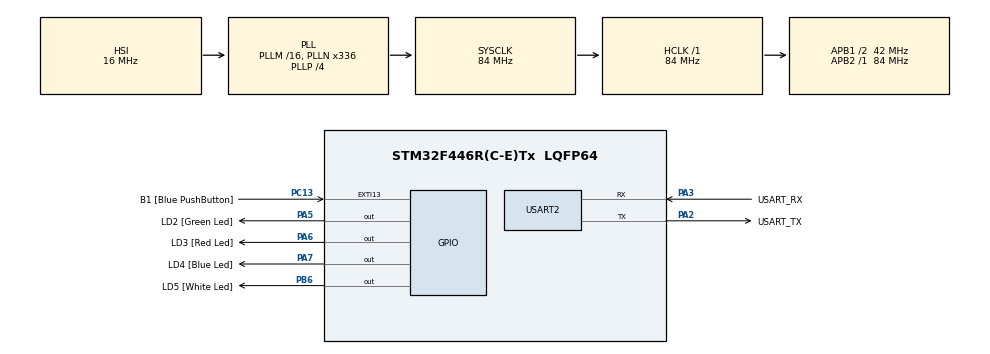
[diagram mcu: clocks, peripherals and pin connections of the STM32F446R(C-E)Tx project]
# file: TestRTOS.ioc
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FREERTOS.Queues01=sendQueue,16,SENDMSGQUEUE_OBJ_t,0,Static,sendQueueBuffer,sendQueueControlBlock;recvQueue,16,RECVMSGQUEUE_OBJ_t,0,Static,recvQueueBuffer,recvQueueControlBlock
FREERTOS.Tasks01=flashTask,24,256,startFlashTask,Default,NULL,Dynamic,NULL,NULL;uartTask,8,512,startUartTask,Default,NULL,Dynamic,NULL,NULL;recvTask,48,256,startRecvTask,Default,NULL,Dynamic,NULL,NULL
Mcu.Family=STM32F4
Mcu.Name=STM32F446R(C-E)Tx
Mcu.Package=LQFP64
NVIC.PriorityGroup=NVIC_PRIORITYGROUP_4
NVIC.RCC_IRQn=true\:5\:0\:false\:false\:true\:true\:true\:false
NVIC.RTC_Alarm_IRQn=true\:5\:0\:false\:false\:true\:true\:true\:true
NVIC.TIM1_UP_TIM10_IRQn=true\:0\:0\:false\:false\:true\:false\:false\:true
NVIC.TimeBase=TIM1_UP_TIM10_IRQn
NVIC.TimeBaseIP=TIM1
NVIC.USART2_IRQn=true\:5\:0\:false\:false\:true\:true\:true\:true
PA13.GPIO_Label=TMS
PA13.Mode=Serial_Wire
PA13.Signal=SYS_JTMS-SWDIO
PA14.GPIO_Label=TCK
PA14.Mode=Serial_Wire
PA14.Signal=SYS_JTCK-SWCLK
PA2.GPIO_Label=USART_TX
PA2.Mode=Asynchronous
PA2.Signal=USART2_TX
PA3.GPIO_Label=USART_RX
PA3.Mode=Asynchronous
PA3.Signal=USART2_RX
PA5.GPIO_Label=LD2 [Green Led]
PA5.Signal=GPIO_Output
PA6.GPIO_Label=LD3 [Red Led]
PA6.Signal=GPIO_Output
PA7.GPIO_Label=LD4 [Blue Led]
PA7.Signal=GPIO_Output
PB3.GPIO_Label=SWO
PB3.Signal=SYS_JTDO-SWO
PB6.GPIO_Label=LD5 [White Led]
PB6.Signal=GPIO_Output
PC13.GPIO_Label=B1 [Blue PushButton]
PC13.GPIO_ModeDefaultEXTI=GPIO_MODE_IT_FALLING
PC13.Signal=GPXTI13
PC14-OSC32_IN.Mode=LSE-External-Oscillator
PC14-OSC32_IN.Signal=RCC_OSC32_IN
PC15-OSC32_OUT.Mode=LSE-External-Oscillator
PC15-OSC32_OUT.Signal=RCC_OSC32_OUT
PH0-OSC_IN.Mode=HSE-External-Oscillator
PH0-OSC_IN.Signal=RCC_OSC_IN
PH1-OSC_OUT.Mode=HSE-External-Oscillator
PH1-OSC_OUT.Signal=RCC_OSC_OUT
ProjectManager.HeapSize=0x200
ProjectManager.StackSize=0x400
ProjectManager.TargetToolchain=TrueSTUDIO
RCC.48MHZClocksFreq_Value=84000000
RCC.AHBFreq_Value=84000000
RCC.APB1CLKDivider=RCC_HCLK_DIV2
RCC.APB1Freq_Value=42000000
RCC.APB1TimFreq_Value=84000000
RCC.APB2Freq_Value=84000000
RCC.APB2TimFreq_Value=84000000
RCC.CortexFreq_Value=84000000
RCC.FLatency-AdvancedSettings=FLASH_LATENCY_2
RCC.HCLKFreq_Value=84000000
RCC.HSE_VALUE=8000000
RCC.HSI_VALUE=16000000
RCC.PLLN=336
RCC.PLLP=RCC_PLLP_DIV4
RCC.RCC_RTC_Clock_SourceVirtual=RCC_RTCCLKSOURCE_LSE
RCC.SYSCLKFreq_VALUE=84000000
RCC.SYSCLKSource=RCC_SYSCLKSOURCE_PLLCLK
RCC.USBFreq_Value=168000000
RCC.VCOOutputFreq_Value=336000000
RTC.Alarm=RTC_ALARM_A
RTC.Seconds_A=15
USART2.VirtualMode=VM_ASYNC
VP_FREERTOS_VS_CMSIS_V2.Mode=CMSIS_V2
VP_RTC_VS_RTC_Activate.Mode=RTC_Enabled
VP_RTC_VS_RTC_Alarm_A_Intern.Mode=Alarm A
VP_RTC_VS_RTC_Calendar.Mode=RTC_Calendar
VP_SYS_VS_tim1.Mode=TIM1
board=NUCLEO-F446RE

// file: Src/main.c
/* USER CODE BEGIN Header */
/**
 ******************************************************************************
 * @file           : main.c
 * @brief          : Main program body
 ******************************************************************************
 * @attention
 *
 * <h2><center>&copy; Copyright (c) 2019 STMicroelectronics.
 * All rights reserved.</center></h2>
 *
 * This software component is licensed by ST under Ultimate Liberty license
 * SLA0044, the "License"; You may not use this file except in compliance with
 * the License. You may obtain a copy of the License at:
 *                             www.st.com/SLA0044
 *
 ******************************************************************************
 */
/* USER CODE END Header */

#include "main.h"
#include "cmsis_os.h"

/* USER CODE BEGIN Includes */
#include <stdio.h>
#include <string.h>
#include "task.h"
#include "FreeRTOS.h"
#include "tiny_printf.h"
#include "commands.h"
#include "firmware_version.h"

/* USER CODE END Includes */

/* USER CODE BEGIN PTD */

/**
 * Global application context structure
 */
typedef struct {
	osMutexId_t contextMutex;
	uint32_t counter;
	uint32_t led1 :1, led2 :1, led3 :1, led4 :1;
	uint32_t but1 :1, but2 :1, but3 :1, but4 :1;
	uint32_t error;
} APP_CONTEXT;

/* USER CODE END PTD */

RTC_HandleTypeDef hrtc;

UART_HandleTypeDef huart2;

typedef StaticQueue_t osStaticMessageQDef_t;
osThreadId_t flashTaskHandle;
osThreadId_t uartTaskHandle;
osThreadId_t recvTaskHandle;
osMessageQueueId_t sendQueueHandle;
uint8_t sendQueueBuffer[ 16 * sizeof( SENDMSGQUEUE_OBJ_t ) ];
osStaticMessageQDef_t sendQueueControlBlock;
osMessageQueueId_t recvQueueHandle;
uint8_t recvQueueBuffer[ 16 * sizeof( RECVMSGQUEUE_OBJ_t ) ];
osStaticMessageQDef_t recvQueueControlBlock;
/* USER CODE BEGIN PV */

volatile APP_CONTEXT appContext = { 0 };

uint8_t gRecvBuffer[sizeof(RECVCMD_t)];

/* USER CODE END PV */

void SystemClock_Config(void);
static void MX_GPIO_Init(void);
static void MX_USART2_UART_Init(void);
static void MX_RTC_Init(void);
void startFlashTask(void *argument); // for v2
void startUartTask(void *argument); // for v2
void startRecvTask(void *argument); // for v2

/* USER CODE BEGIN 0 */

#if (configCHECK_FOR_STACK_OVERFLOW > 0)
void vApplicationStackOverflowHook(TaskHandle_t xTask, signed char *pcTaskName)
{
	for (;;) {
		HAL_GPIO_TogglePin(LD2_GPIO_Port, LD2_Pin);
		HAL_Delay(100);
	}
}
#endif

void print2Uart2(const char *msg) {
	osMutexAcquire(appContext.contextMutex, 0);
	HAL_UART_Transmit(&huart2, (uint8_t*) msg, strlen(msg), 100);
	osMutexRelease(appContext.contextMutex);
}

/**
 * Callback is called when the receive from UART is complete.
 */
void HAL_UART_RxCpltCallback(UART_HandleTypeDef *huart) {
	static uint32_t counter = 0;
	RECVMSGQUEUE_OBJ_t msg;

	memcpy(&msg.packet, gRecvBuffer, sizeof(RECVCMD_t));
	msg.count = counter++;

	osStatus result = osMessageQueuePut(recvQueueHandle, (void *) &msg,
			sizeof(msg), 0);
	if (result != osOK) {
		// TODO: Should handle error condition here...
	}
}

void HAL_RTC_AlarmAEventCallback(RTC_HandleTypeDef *hrtc)
{
  /* Alarm generation: Turn LED1 on */
//  BSP_LED_On(LED1);
	osMutexAcquire(appContext.contextMutex, 0);
	HAL_GPIO_WritePin(LD2_GPIO_Port, LD2_Pin, GPIO_PIN_SET);
	appContext.led1 = 1;
	osMutexRelease(appContext.contextMutex);
}

static void setRTCClock(uint32_t bcdTime)
{
	RTC_TimeTypeDef sTime = {0};

	uint8_t h = (bcdTime & 0xff0000) >> 16;
	uint8_t m = (bcdTime & 0x00ff00) >> 8;
	uint8_t s = (bcdTime & 0x0000ff);

	/** Initialize RTC and set the Time and Date
     */
	sTime.Hours = h;
	sTime.Minutes = m;
	sTime.Seconds = s;
	sTime.DayLightSaving = RTC_DAYLIGHTSAVING_NONE;
	sTime.StoreOperation = RTC_STOREOPERATION_RESET;

	if (HAL_RTC_SetTime(&hrtc, &sTime, RTC_FORMAT_BCD) != HAL_OK)
	{
		Error_Handler();
	}
}

static void setRTCAlarm(uint32_t bcdTime)
{
	RTC_AlarmTypeDef sAlarm = {0};

	uint8_t h = (bcdTime & 0xff0000) >> 16;
	uint8_t m = (bcdTime & 0x00ff00) >> 8;
	uint8_t s = (bcdTime & 0x0000ff);

	/** Enable the Alarm A
	*/
	sAlarm.AlarmTime.Hours = h;
	sAlarm.AlarmTime.Minutes = m;
	sAlarm.AlarmTime.Seconds = s;
	sAlarm.AlarmTime.SubSeconds = 0x0;
	sAlarm.AlarmTime.DayLightSaving = RTC_DAYLIGHTSAVING_NONE;
	sAlarm.AlarmTime.StoreOperation = RTC_STOREOPERATION_RESET;
	sAlarm.AlarmMask = RTC_ALARMMASK_NONE;
	sAlarm.AlarmSubSecondMask = RTC_ALARMSUBSECONDMASK_ALL;
	sAlarm.AlarmDateWeekDaySel = RTC_ALARMDATEWEEKDAYSEL_DATE;
	sAlarm.AlarmDateWeekDay = 0x1;
	sAlarm.Alarm = RTC_ALARM_A;
	if (HAL_RTC_SetAlarm_IT(&hrtc, &sAlarm, RTC_FORMAT_BCD) != HAL_OK)
	{
	  Error_Handler();
	}
}
/* USER CODE END 0 */

int main(void)
{

  /* MCU Configuration--------------------------------------------------------*/

  /* Reset of all peripherals, Initializes the Flash interface and the Systick. */
  HAL_Init();

  /* Configure the system clock */
  SystemClock_Config();

  /* Initialize all configured peripherals */
  MX_GPIO_Init();
  MX_USART2_UART_Init();
  MX_RTC_Init();
  /* USER CODE BEGIN 2 */
  setRTCAlarm(0x00000010);
  // Send a bunch of crs so if frontend is listening it will sync easily
  print2Uart2("\n\n\n\n\n\n\n\n");
  /* USER CODE END 2 */

  osKernelInitialize(); // Initialize CMSIS-RTOS

  /* USER CODE BEGIN RTOS_MUTEX */
	/* add mutexes, ... */
	appContext.contextMutex = osMutexNew(NULL);
  /* USER CODE END RTOS_MUTEX */

  /* Create the queue(s) */
  /* definition and creation of sendQueue */
  const osMessageQueueAttr_t sendQueue_attributes = {
    .name = "sendQueue",
    .cb_mem = &sendQueueControlBlock,
    .cb_size = sizeof(sendQueueControlBlock),
    .mq_mem = &sendQueueBuffer,
    .mq_size = sizeof(sendQueueBuffer)
  };
  sendQueueHandle = osMessageQueueNew (16, sizeof(SENDMSGQUEUE_OBJ_t), &sendQueue_attributes);

  /* definition and creation of recvQueue */
  const osMessageQueueAttr_t recvQueue_attributes = {
    .name = "recvQueue",
    .cb_mem = &recvQueueControlBlock,
    .cb_size = sizeof(recvQueueControlBlock),
    .mq_mem = &recvQueueBuffer,
    .mq_size = sizeof(recvQueueBuffer)
  };
  recvQueueHandle = osMessageQueueNew (16, sizeof(RECVMSGQUEUE_OBJ_t), &recvQueue_attributes);

  /* USER CODE BEGIN RTOS_QUEUES */
	/* add queues, ... */

	print2Uart2("{ \"message\": \"Initializing threads...\" }\n");

  /* USER CODE END RTOS_QUEUES */

  /* Create the thread(s) */
  /* definition and creation of flashTask */
  const osThreadAttr_t flashTask_attributes = {
    .name = "flashTask",
    .priority = (osPriority_t) osPriorityNormal,
    .stack_size = 256
  };
  flashTaskHandle = osThreadNew(startFlashTask, NULL, &flashTask_attributes);

  /* definition and creation of uartTask */
  const osThreadAttr_t uartTask_attributes = {
    .name = "uartTask",
    .priority = (osPriority_t) osPriorityLow,
    .stack_size = 512
  };
  uartTaskHandle = osThreadNew(startUartTask, NULL, &uartTask_attributes);

  /* definition and creation of recvTask */
  const osThreadAttr_t recvTask_attributes = {
    .name = "recvTask",
    .priority = (osPriority_t) osPriorityRealtime,
    .stack_size = 256
  };
  recvTaskHandle = osThreadNew(startRecvTask, NULL, &recvTask_attributes);

  /* USER CODE BEGIN RTOS_THREADS */
	/* add threads, ... */
	HAL_UART_Receive_IT(&huart2, (uint8_t*) &gRecvBuffer, sizeof(RECVCMD_t));

	// Push out version packet...
	{
		SENDMSGQUEUE_OBJ_t	msg = {0};

		msg.cmd = SENDCMD_VERSION;
//		msg.count = 0;
//		msg.buttonState = 0;

		osMessageQueuePut(sendQueueHandle, &msg, 0, 0);
	}

	print2Uart2("{ \"message\": \"Starting kernel...\" }\n");
  /* USER CODE END RTOS_THREADS */

  /* Start scheduler */
  osKernelStart();

  /* We should never get here as control is now taken by the scheduler */

  /* Infinite loop */
	while (1) {

	}
}

void SystemClock_Config(void)
{
  RCC_OscInitTypeDef RCC_OscInitStruct = {0};
  RCC_ClkInitTypeDef RCC_ClkInitStruct = {0};
  RCC_PeriphCLKInitTypeDef PeriphClkInitStruct = {0};

  /** Configure the main internal regulator output voltage
  */
  __HAL_RCC_PWR_CLK_ENABLE();
  __HAL_PWR_VOLTAGESCALING_CONFIG(PWR_REGULATOR_VOLTAGE_SCALE3);
  /** Initializes the CPU, AHB and APB busses clocks
  */
  RCC_OscInitStruct.OscillatorType = RCC_OSCILLATORTYPE_HSI|RCC_OSCILLATORTYPE_LSE;
  RCC_OscInitStruct.LSEState = RCC_LSE_ON;
  RCC_OscInitStruct.HSIState = RCC_HSI_ON;
  RCC_OscInitStruct.HSICalibrationValue = RCC_HSICALIBRATION_DEFAULT;
  RCC_OscInitStruct.PLL.PLLState = RCC_PLL_ON;
  RCC_OscInitStruct.PLL.PLLSource = RCC_PLLSOURCE_HSI;
  RCC_OscInitStruct.PLL.PLLM = 16;
  RCC_OscInitStruct.PLL.PLLN = 336;
  RCC_OscInitStruct.PLL.PLLP = RCC_PLLP_DIV4;
  RCC_OscInitStruct.PLL.PLLQ = 2;
  RCC_OscInitStruct.PLL.PLLR = 2;
  if (HAL_RCC_OscConfig(&RCC_OscInitStruct) != HAL_OK)
  {
    Error_Handler();
  }
  /** Initializes the CPU, AHB and APB busses clocks
  */
  RCC_ClkInitStruct.ClockType = RCC_CLOCKTYPE_HCLK|RCC_CLOCKTYPE_SYSCLK
                              |RCC_CLOCKTYPE_PCLK1|RCC_CLOCKTYPE_PCLK2;
  RCC_ClkInitStruct.SYSCLKSource = RCC_SYSCLKSOURCE_PLLCLK;
  RCC_ClkInitStruct.AHBCLKDivider = RCC_SYSCLK_DIV1;
  RCC_ClkInitStruct.APB1CLKDivider = RCC_HCLK_DIV2;
  RCC_ClkInitStruct.APB2CLKDivider = RCC_HCLK_DIV1;

  if (HAL_RCC_ClockConfig(&RCC_ClkInitStruct, FLASH_LATENCY_2) != HAL_OK)
  {
    Error_Handler();
  }
  PeriphClkInitStruct.PeriphClockSelection = RCC_PERIPHCLK_RTC;
  PeriphClkInitStruct.RTCClockSelection = RCC_RTCCLKSOURCE_LSE;
  if (HAL_RCCEx_PeriphCLKConfig(&PeriphClkInitStruct) != HAL_OK)
  {
    Error_Handler();
  }
}

static void MX_RTC_Init(void)
{

  RTC_TimeTypeDef sTime = {0};
  RTC_DateTypeDef sDate = {0};
//  RTC_AlarmTypeDef sAlarm = {0};

  /** Initialize RTC Only
  */
  hrtc.Instance = RTC;
  hrtc.Init.HourFormat = RTC_HOURFORMAT_24;
  hrtc.Init.AsynchPrediv = 127;
  hrtc.Init.SynchPrediv = 255;
  hrtc.Init.OutPut = RTC_OUTPUT_DISABLE;
  hrtc.Init.OutPutPolarity = RTC_OUTPUT_POLARITY_HIGH;
  hrtc.Init.OutPutType = RTC_OUTPUT_TYPE_OPENDRAIN;
  if (HAL_RTC_Init(&hrtc) != HAL_OK)
  {
    Error_Handler();
  }

  /** Initialize RTC and set the Time and Date
  */
  sTime.Hours = 0x0;
  sTime.Minutes = 0x0;
  sTime.Seconds = 0x0;
  sTime.DayLightSaving = RTC_DAYLIGHTSAVING_NONE;
  sTime.StoreOperation = RTC_STOREOPERATION_RESET;
  if (HAL_RTC_SetTime(&hrtc, &sTime, RTC_FORMAT_BCD) != HAL_OK)
  {
    Error_Handler();
  }
  sDate.WeekDay = RTC_WEEKDAY_MONDAY;
  sDate.Month = RTC_MONTH_JANUARY;
  sDate.Date = 0x1;
  sDate.Year = 0x0;

  if (HAL_RTC_SetDate(&hrtc, &sDate, RTC_FORMAT_BCD) != HAL_OK)
  {
    Error_Handler();
  }
//  /** Enable the Alarm A
//  */
//  sAlarm.AlarmTime.Hours = 0x0;
//  sAlarm.AlarmTime.Minutes = 0x0;
//  sAlarm.AlarmTime.Seconds = 0x15;
//  sAlarm.AlarmTime.SubSeconds = 0x0;
//  sAlarm.AlarmTime.DayLightSaving = RTC_DAYLIGHTSAVING_NONE;
//  sAlarm.AlarmTime.StoreOperation = RTC_STOREOPERATION_RESET;
//  sAlarm.AlarmMask = RTC_ALARMMASK_NONE;
//  sAlarm.AlarmSubSecondMask = RTC_ALARMSUBSECONDMASK_ALL;
//  sAlarm.AlarmDateWeekDaySel = RTC_ALARMDATEWEEKDAYSEL_DATE;
//  sAlarm.AlarmDateWeekDay = 0x1;
//  sAlarm.Alarm = RTC_ALARM_A;
//  if (HAL_RTC_SetAlarm_IT(&hrtc, &sAlarm, RTC_FORMAT_BCD) != HAL_OK)
//  {
//    Error_Handler();
//  }

}

static void MX_USART2_UART_Init(void)
{

  huart2.Instance = USART2;
  huart2.Init.BaudRate = 115200;
  huart2.Init.WordLength = UART_WORDLENGTH_8B;
  huart2.Init.StopBits = UART_STOPBITS_1;
  huart2.Init.Parity = UART_PARITY_NONE;
  huart2.Init.Mode = UART_MODE_TX_RX;
  huart2.Init.HwFlowCtl = UART_HWCONTROL_NONE;
  huart2.Init.OverSampling = UART_OVERSAMPLING_16;
  if (HAL_UART_Init(&huart2) != HAL_OK)
  {
    Error_Handler();
  }

}

static void MX_GPIO_Init(void)
{
  GPIO_InitTypeDef GPIO_InitStruct = {0};

  /* GPIO Ports Clock Enable */
  __HAL_RCC_GPIOC_CLK_ENABLE();
  __HAL_RCC_GPIOH_CLK_ENABLE();
  __HAL_RCC_GPIOA_CLK_ENABLE();
  __HAL_RCC_GPIOB_CLK_ENABLE();

  /*Configure GPIO pin Output Level */
  HAL_GPIO_WritePin(GPIOA, LD2_Pin|LD3_Pin|LD4_Pin, GPIO_PIN_RESET);

  /*Configure GPIO pin Output Level */
  HAL_GPIO_WritePin(LD5_GPIO_Port, LD5_Pin, GPIO_PIN_RESET);

  /*Configure GPIO pin : B1_Pin */
  GPIO_InitStruct.Pin = B1_Pin;
  GPIO_InitStruct.Mode = GPIO_MODE_IT_FALLING;
  GPIO_InitStruct.Pull = GPIO_NOPULL;
  HAL_GPIO_Init(B1_GPIO_Port, &GPIO_InitStruct);

  /*Configure GPIO pins : LD2_Pin LD3_Pin LD4_Pin */
  GPIO_InitStruct.Pin = LD2_Pin|LD3_Pin|LD4_Pin;
  GPIO_InitStruct.Mode = GPIO_MODE_OUTPUT_PP;
  GPIO_InitStruct.Pull = GPIO_NOPULL;
  GPIO_InitStruct.Speed = GPIO_SPEED_FREQ_LOW;
  HAL_GPIO_Init(GPIOA, &GPIO_InitStruct);

  /*Configure GPIO pin : LD5_Pin */
  GPIO_InitStruct.Pin = LD5_Pin;
  GPIO_InitStruct.Mode = GPIO_MODE_OUTPUT_PP;
  GPIO_InitStruct.Pull = GPIO_NOPULL;
  GPIO_InitStruct.Speed = GPIO_SPEED_FREQ_LOW;
  HAL_GPIO_Init(LD5_GPIO_Port, &GPIO_InitStruct);

}

void startFlashTask(void *argument)
{

  /* USER CODE BEGIN 5 */
	static uint32_t counter = 0;

	SENDMSGQUEUE_OBJ_t msg = { 0 };

	/* Infinite loop */
	for (;;) {
		int button = (HAL_GPIO_ReadPin(B1_GPIO_Port, B1_Pin) == 0) ? 1 : 0;
//	  HAL_GPIO_TogglePin(LD2_GPIO_Port, LD2_Pin);

		msg.cmd 		= SENDCMD_STATUS;
		msg.count 		= counter;
		msg.buttonState = button;

		osMessageQueuePut(sendQueueHandle, &msg, 0, 0);
		vTaskDelay(250 / portTICK_PERIOD_MS);
		counter++;
	}
  /* USER CODE END 5 */
}

void startUartTask(void *argument)
{
  /* USER CODE BEGIN startUartTask */
	SENDMSGQUEUE_OBJ_t msg = { 0 };

	/* Infinite loop */
	static char msgBuffer[128];
	for (;;) {
		osStatus_t status;
		status = osMessageQueueGet(sendQueueHandle, &msg, NULL, 0);
		if (status == osOK) {
			osMutexAcquire(appContext.contextMutex, 0);
			switch (msg.cmd) {
			case SENDCMD_STATUS: {
				RTC_TimeTypeDef stimestructureget;
				RTC_DateTypeDef sdatestructureget;

				/* Get the RTC current Time */
                 HAL_RTC_GetTime(&hrtc, &stimestructureget, FORMAT_BCD);
                 HAL_RTC_GetDate(&hrtc, &sdatestructureget, FORMAT_BCD);

                uint32_t ledMask = ((appContext.led4 << 3) | (appContext.led3 << 2) | (appContext.led2 << 1) | (appContext.led1 << 0));

				appContext.counter = msg.count;
				appContext.but1 = (msg.buttonState & 0x1) ? 1 : 0;

				snprintf(msgBuffer, sizeof(msgBuffer),
						"{ \"id\": %ld, \"button\": %d, \"led\": %ld, \"timestamp\": \"%02x:%02x:%02x\" }\n",
						appContext.counter, appContext.but1, ledMask,
						stimestructureget.Hours, stimestructureget.Minutes, stimestructureget.Seconds);
				print2Uart2(msgBuffer);
			}
				break;
			case SENDCMD_VERSION: {
				snprintf(msgBuffer, sizeof(msgBuffer),
						"{ \"name\": \"%s\", \"version\": \"%d.%d.%d\" }\n",
						FW_NAME, FW_MAJOR_VERSION, FW_MINOR_VERSION, FW_VERSION_BUILD);
				print2Uart2(msgBuffer);
			}
				break;
			default:
				break;
			}
			osMutexRelease(appContext.contextMutex);
			vTaskDelay(100);
		}
	}
  /* USER CODE END startUartTask */
}

void startRecvTask(void *argument)
{
  /* USER CODE BEGIN startRecvTask */
	/* Infinite loop */
	for (;;) {
		RECVMSGQUEUE_OBJ_t msg;
		osStatus_t status = osMessageQueueGet(recvQueueHandle, &msg, NULL, 0);
		if (status == osOK) {
#if 0
			HAL_GPIO_TogglePin(LD5_GPIO_Port, LD5_Pin);
#endif
			switch (msg.packet.cmd) {
			case RECVCMD_HELLO:
				break;
			case RECVCMD_LEDON:
				{
					osMutexAcquire(appContext.contextMutex, 0);
					if (IS_LED_SET(msg.packet.data, LED_ONE)) {
						appContext.led1 = 1;
						HAL_GPIO_WritePin(LD2_GPIO_Port, LD2_Pin, GPIO_PIN_SET);
					}
					if (IS_LED_SET(msg.packet.data, LED_TWO)) {
						appContext.led2 = 1;
						HAL_GPIO_WritePin(LD3_GPIO_Port, LD3_Pin, GPIO_PIN_SET);
					}
					if (IS_LED_SET(msg.packet.data, LED_THREE)) {
						appContext.led3 = 1;
						HAL_GPIO_WritePin(LD4_GPIO_Port, LD4_Pin, GPIO_PIN_SET);
					}
					if (IS_LED_SET(msg.packet.data, LED_FOUR)) {
						appContext.led4 = 1;
						HAL_GPIO_WritePin(LD5_GPIO_Port, LD5_Pin, GPIO_PIN_SET);
					}
					osMutexRelease(appContext.contextMutex);
				}
				break;
			case RECVCMD_LEDOFF:
				{
					osMutexAcquire(appContext.contextMutex, 0);
					if (IS_LED_SET(msg.packet.data, LED_ONE)) {
						appContext.led1 = 0;
						HAL_GPIO_WritePin(LD2_GPIO_Port, LD2_Pin, GPIO_PIN_RESET);
					}
					if (IS_LED_SET(msg.packet.data, LED_TWO)) {
						appContext.led2 = 0;
						HAL_GPIO_WritePin(LD3_GPIO_Port, LD3_Pin, GPIO_PIN_RESET);
					}
					if (IS_LED_SET(msg.packet.data, LED_THREE)) {
						appContext.led3 = 0;
						HAL_GPIO_WritePin(LD4_GPIO_Port, LD4_Pin, GPIO_PIN_RESET);
					}
					if (IS_LED_SET(msg.packet.data, LED_FOUR)) {
						appContext.led4 = 0;
						HAL_GPIO_WritePin(LD5_GPIO_Port, LD5_Pin, GPIO_PIN_RESET);
					}
					osMutexRelease(appContext.contextMutex);
				}
				break;
			case RECVCMD_VERSION:
				{
					SENDMSGQUEUE_OBJ_t sendMsg = { 0 };
					sendMsg.cmd = SENDCMD_VERSION;
					osStatus_t putStat = osMessageQueuePut(sendQueueHandle, &sendMsg, 0,
							0);
					if (putStat != osOK) {
						appContext.error = 1;
					}
				}
				break;
			case RECVCMD_SETRTC:
				// The packet data contains the current time in BCD format.
				setRTCClock(msg.packet.data);
				break;
			case RECVCMD_RESET:
				NVIC_SystemReset();
			default:
				break;
			}

		} else {

		}
		// Queue up another read from the UART peripheral
		HAL_UART_Receive_IT(&huart2, (uint8_t*) &gRecvBuffer,
				sizeof(RECVCMD_t));
		osDelay(10);
	}
  /* USER CODE END startRecvTask */
}

void HAL_TIM_PeriodElapsedCallback(TIM_HandleTypeDef *htim)
{
  if (htim->Instance == TIM1) {
    HAL_IncTick();
  }
}

void Error_Handler(void)
{
}

/************************ (C) COPYRIGHT STMicroelectronics *****END OF FILE****/
